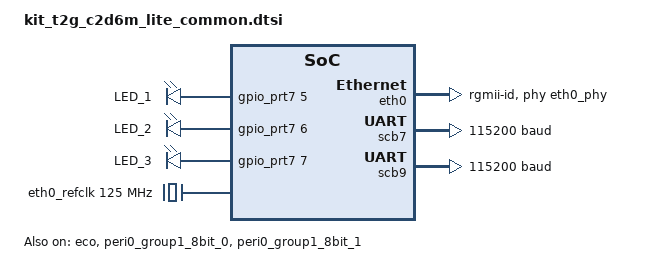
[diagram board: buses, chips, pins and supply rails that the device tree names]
/*
 * SPDX-FileCopyrightText: Copyright (c) 2026 Linumiz
 *
 * SPDX-License-Identifier: Apache-2.0
 */

#include <arm/infineon/cat1c/traveo/cyt4dn/system_clocks.dtsi>
#include <arm/infineon/cat1c/traveo/cyt4dn/cyt4dn.dtsi>
#include <arm/infineon/cat1c/traveo/cyt4dn/cyt4dn-pinctrl.dtsi>
#include <zephyr/dt-bindings/input/input-event-codes.h>
#include <zephyr/dt-bindings/pinctrl/ifx_cat1-pinctrl.h>
#include <zephyr/dt-bindings/clock/ifx_clock_source_cyt4dnxx.h>

/ {
	leds {
		compatible = "gpio-leds";

		user_led1: user_led1 {
			label = "LED_1";
			gpios = <&gpio_prt7 5 GPIO_ACTIVE_HIGH>;
		};

		user_led2: user_led2 {
			label = "LED_2";
			gpios = <&gpio_prt7 6 GPIO_ACTIVE_HIGH>;
		};

		user_led3: user_led3 {
			label = "LED_3";
			gpios = <&gpio_prt7 7 GPIO_ACTIVE_HIGH>;
		};
	};

	/* Oscillator on the REF_CLK pin of the Ethernet MAC */
	eth0_refclk: eth0-refclk {
		compatible = "fixed-clock";
		clock-frequency = <125000000>;
		#clock-cells = <0>;
	};
};

/*
 * Realtek RTL8211FI gigabit PHY on RGMII, its reset is tied to XRES. The PHY
 * is strapped to address 1; address 0 is its broadcast address.
 */
&eth0 {
	clocks = <&clk_peri>, <&eth0_refclk>, <&clk_hf5>;
	clock-names = "pclk", "ref_clk", "tsu_clk";
	pinctrl-0 = <&p13_0_eth0_mdc &p13_1_eth0_mdio
		     &p13_2_eth0_txd0 &p13_3_eth0_txd1 &p13_6_eth0_txd2 &p13_7_eth0_txd3
		     &p13_4_eth0_tx_clk &p14_0_eth0_tx_ctl &p13_5_eth0_ref_clk
		     &p14_3_eth0_rxd0 &p14_4_eth0_rxd1 &p14_5_eth0_rxd2 &p14_6_eth0_rxd3
		     &p14_2_eth0_rx_clk &p14_7_eth0_rx_ctl>;
	pinctrl-names = "default";
	phy-handle = <&eth0_phy>;
	phy-connection-type = "rgmii-id";
	local-mac-address = [02 00 00 00 00 01];
};

&eth0_mdio {
	eth0_phy: phy@1 {
		compatible = "realtek,rtl8211f";
		reg = <1>;
		status = "disabled";
	};
};

/*
 * Code flash (6336 KB) layout - one execute-in-place partition per core:
 *
 *   Offset     Size      Core   Partition
 *   0x000000   512 KB    M0+    m0p_partition
 *   0x080000   2656 KB   M7_0   m7_0_partition
 *   0x318000   3168 KB   M7_1   m7_1_partition
 *
 * The M0+ boots first and releases each M7 to run from its own partition.
 */
&code_flash0 {
	partitions {
		ranges;
		#address-cells = <1>;
		#size-cells = <1>;

		m0p_partition: partition_m0p@0 {
			compatible = "zephyr,mapped-partition";
			label = "m0p_partition";
			reg = <0x0 DT_SIZE_K(512)>;
		};

		m7_0_partition: partition@80000 {
			compatible = "zephyr,mapped-partition";
			label = "m7_0_partition";
			reg = <0x80000 DT_SIZE_K(2656)>;
		};

		m7_1_partition: partition@318000 {
			compatible = "zephyr,mapped-partition";
			label = "m7_1_partition";
			reg = <0x318000 DT_SIZE_K(3168)>;
		};
	};
};

uart7: &scb7 {
	compatible = "infineon,uart";
	current-speed = <115200>;
	clocks = <&peri0_group1_8bit_1>;

	/* UART pins */
	pinctrl-0 = <&p9_0_scb7_uart_rx &p9_1_scb7_uart_tx>;
	pinctrl-names = "default";
};

uart9: &scb9 {
	compatible = "infineon,uart";
	current-speed = <115200>;
	clocks = <&peri0_group1_8bit_0>;

	/* UART pins */
	pinctrl-0 = <&p29_0_scb9_uart_rx &p29_1_scb9_uart_tx>;
	pinctrl-names = "default";
};

&gpio_prt7 {
	status = "okay";
};

&eco {
	status = "okay";
};

&pll0 {
	status = "okay";
};

&pll1 {
	status = "okay";
};

&pll2 {
	status = "okay";
};

&pll3 {
	status = "okay";
};

&pll4 {
	status = "okay";
};

&pll5 {
	status = "okay";
};

&pll6 {
	status = "okay";
};

&clk_hf0 {
	status = "okay";
};

&clk_hf1 {
	status = "okay";
};

&clk_hf2 {
	status = "okay";
};

&clk_hf3 {
	status = "okay";
};

&clk_hf4 {
	status = "okay";
};

&clk_hf5 {
	status = "okay";
};

&clk_hf6 {
	status = "okay";
};

&clk_hf7 {
	status = "okay";
};

&clk_hf8 {
	status = "okay";
};

&clk_hf9 {
	status = "okay";
};

&clk_hf10 {
	status = "okay";
};

&clk_hf11 {
	status = "okay";
};

&clk_hf12 {
	status = "okay";
};

&clk_peri1 {
	status = "okay";
};

&clk_slow {
	status = "okay";
};

&clk_mem {
	status = "okay";
};

&clk_peri {
	status = "okay";
};

&peri0_group1_8bit_0 {
	status = "okay";
};

&peri0_group1_8bit_1 {
	status = "okay";
};
